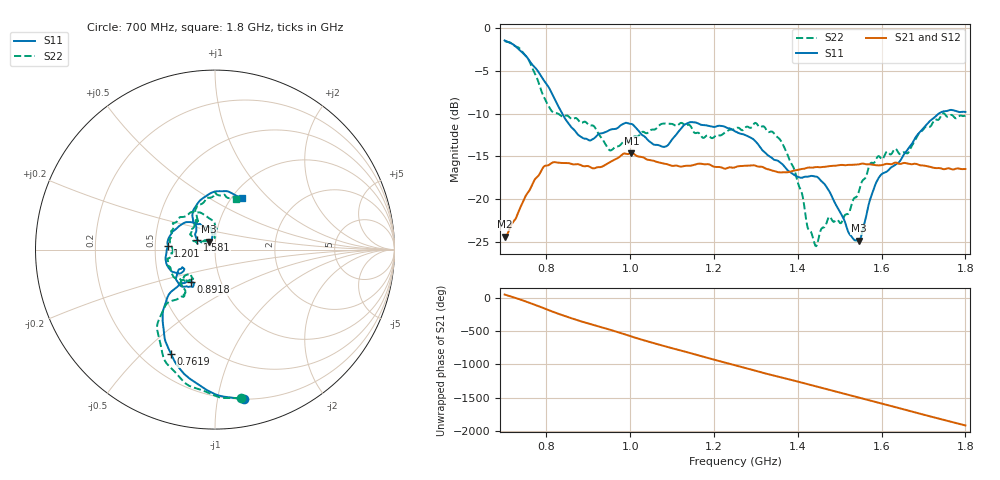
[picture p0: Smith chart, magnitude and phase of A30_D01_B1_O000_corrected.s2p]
! Created with skrf 1.9.0 (http://scikit-rf.org).
# Hz S RI R 50.0
!freq ReS11 ImS11 ReS21 ImS21 ReS12 ImS12 ReS22 ImS22
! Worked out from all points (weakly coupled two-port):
!   1601 points, 700 MHz to 1.8 GHz, reference 50 ohm
!   highest |S21| = -14.64 dB at 1.002 GHz (marker M1); lowest = -24.4 dB at 700.7 MHz (marker M2)
!   lowest |S11| = -24.9 dB at 1.546 GHz (marker M3), VSWR 1.12, Z = 46.4 + j4.1 ohm
!   |S11| at or under -10 dB: 837.7 MHz to 1.736 GHz (898.8 MHz wide, 69.8 % of centre)
!   |S22| runs from -25.5 to -1.5 dB; largest |S21 - S12| = 0.0037
!   S11 on the Smith chart (normalised r, x): 700 MHz: 0.20, -1.19; 761.9 MHz: 0.32, -0.62; 891.8 MHz: 0.72, -0.27; 1.201 GHz: 0.58, +0.03; 1.581 GHz: 0.82, +0.09; 1.8 GHz: 1.11, +0.71
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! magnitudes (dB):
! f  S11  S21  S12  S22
! 700 MHz  -1.4  -24.4  -24.2  -1.5
! 700.7 MHz  -1.5  -24.4  -24.1  -1.5
! 761.9 MHz  -4.0  -18.8  -18.7  -4.2
! 812.1 MHz  -7.6  -15.8  -15.8  -9.7
! 883.6 MHz  -12.8  -16.1  -16.0  -11.1
! 891.8 MHz  -12.9  -16.2  -16.2  -11.0
! 951.6 MHz  -11.9  -15.7  -15.7  -14.3
! 1.002 GHz  -11.2  -14.6  -14.7  -13.0
! 1.067 GHz  -13.7  -15.7  -15.7  -11.5
! 1.14 GHz  -11.1  -16.1  -16.1  -11.3
! 1.201 GHz  -11.6  -16.2  -16.2  -12.7
! 1.25 GHz  -12.1  -16.3  -16.2  -11.8
! 1.359 GHz  -15.8  -16.9  -16.9  -13.1
! 1.392 GHz  -17.2  -16.7  -16.7  -16.7
! 1.434 GHz  -17.3  -16.3  -16.3  -24.1
! 1.504 GHz  -21.8  -16.0  -16.0  -22.8
! 1.546 GHz  -24.9  -16.0  -15.9  -19.2
! 1.581 GHz  -18.9  -16.0  -16.0  -15.8
! 1.617 GHz  -16.6  -15.9  -15.9  -14.6
! 1.663 GHz  -14.2  -15.9  -15.9  -14.6
! 1.736 GHz  -10.0  -16.4  -16.4  -10.7
! 1.8 GHz  -9.8  -16.5  -16.5  -10.2
